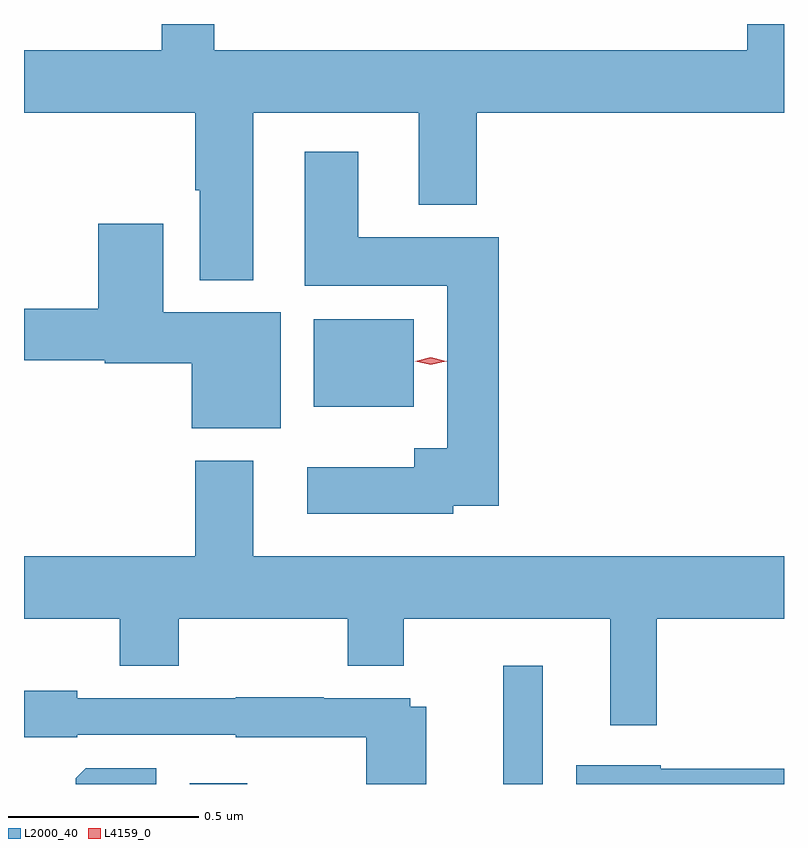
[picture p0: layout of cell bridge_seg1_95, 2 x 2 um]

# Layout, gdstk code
import gdstk
lib = gdstk.Library(unit=1e-6, precision=1e-09)
def R(c, l, rs):  # rectangles x0, y0, x1, y1
    for r in rs: c.add(gdstk.rectangle(r[:2], r[2:], *l))
def P(c, l, *ps):  # polygons
    for p in ps: c.add(gdstk.Polygon(p, *l))
L2000_40 = (2000, 40)
L4159_0 = (4159, 0)

bridge_seg1_95 = lib.new_cell('bridge_seg1_95')
R(bridge_seg1_95, L2000_40, [(180.668,510.005,180.82,510.007), (181.493,510.005,181.597,510.316), (180.995,510.998,181.258,511.228)])
P(bridge_seg1_95, L2000_40, [(180.835,511.772),(181.271,511.772),(181.271,511.529),(181.424,511.529),(181.424,511.772),(182.232,511.772),(182.232,512.005),(182.135,512.005),(182.135,511.936),(180.733,511.936),(180.733,512.005),(180.594,512.005),(180.594,511.936),(180.232,511.936),(180.232,511.772),(180.683,511.772),(180.683,511.567),(180.695,511.567),(180.695,511.331),(180.835,511.331)],
  [(181.362,510.737),(181.481,510.737),(181.481,511.444),(181.111,511.444),(181.111,511.669),(180.971,511.669),(180.971,511.316),(181.346,511.316),(181.346,510.889),(181.259,510.889),(181.259,510.838),(180.978,510.838),(180.978,510.716),(181.362,510.716)],
  [(180.907,511.246),(180.598,511.246),(180.598,511.48),(180.428,511.48),(180.428,511.256),(180.232,511.256),(180.232,511.12),(180.444,511.12),(180.444,511.112),(180.674,511.112),(180.674,510.941),(180.907,510.941)],
  [(181.897,510.44),(182.232,510.44),(182.232,510.604),(180.835,510.604),(180.835,510.856),(180.683,510.856),(180.683,510.604),(180.232,510.604),(180.232,510.44),(180.484,510.44),(180.484,510.316),(180.639,510.316),(180.639,510.44),(181.084,510.44),(181.084,510.316),(181.231,510.316),(181.231,510.44),(181.775,510.44),(181.775,510.159),(181.897,510.159)],
  [(181.291,510.208),(181.248,510.208),(181.248,510.231),(181.021,510.231),(181.021,510.233),(180.789,510.233),(180.789,510.231),(180.372,510.231),(180.372,510.25),(180.232,510.25),(180.232,510.128),(180.372,510.128),(180.372,510.135),(180.789,510.135),(180.789,510.128),(181.133,510.128),(181.133,510.005),(181.291,510.005)],
  [(182.232,510.045),(181.908,510.045),(181.908,510.055),(181.685,510.055),(181.685,510.005),(182.232,510.005)],
  [(180.58,510.046),(180.394,510.046),(180.368,510.02),(180.368,510.005),(180.58,510.005)])
P(bridge_seg1_95, L4159_0, [(181.303,511.108),(181.262,511.117),(181.262,511.117),(181.262,511.118),(181.303,511.128),(181.343,511.118),(181.344,511.118),(181.343,511.118)])

lib.write_gds('bridge_seg1_95.gds')
